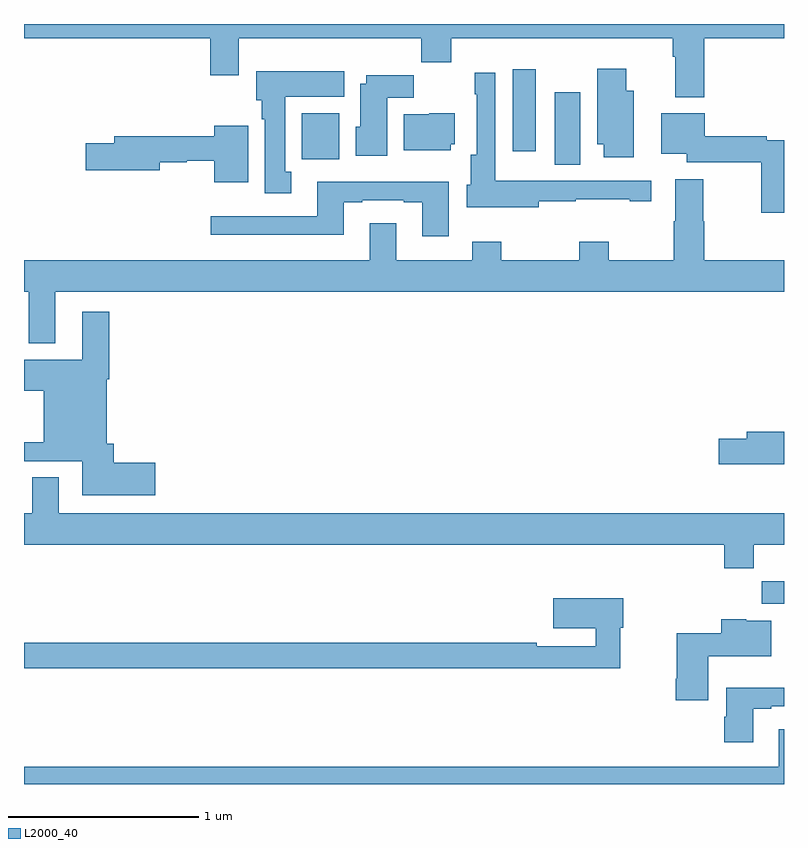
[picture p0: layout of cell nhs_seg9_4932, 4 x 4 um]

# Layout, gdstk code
import gdstk
lib = gdstk.Library(unit=1e-6, precision=1e-09)
def R(c, l, rs):  # rectangles x0, y0, x1, y1
    for r in rs: c.add(gdstk.rectangle(r[:2], r[2:], *l))
def P(c, l, *ps):  # polygons
    for p in ps: c.add(gdstk.Polygon(p, *l))
L2000_40 = (2000, 40)

nhs_seg9_4932 = lib.new_cell('nhs_seg9_4932')
R(nhs_seg9_4932, L2000_40, [(400.882,1189.448,401,1189.567), (399.794,1191.76,399.928,1192.141), (398.462,1191.788,398.659,1192.03), (399.572,1191.831,399.694,1192.261)])
P(nhs_seg9_4932, L2000_40, [(400.58,1192.424),(401,1192.424),(401,1192.5),(397,1192.5),(397,1192.424),(397.979,1192.424),(397.979,1192.23),(398.131,1192.23),(398.131,1192.424),(399.091,1192.424),(399.091,1192.3),(399.248,1192.3),(399.248,1192.424),(400.415,1192.424),(400.415,1192.328),(400.427,1192.328),(400.427,1192.115),(400.58,1192.115)],
  [(400.21,1192.15),(400.171,1192.15),(400.171,1192.264),(400.016,1192.264),(400.016,1191.866),(400.052,1191.866),(400.052,1191.798),(400.21,1191.798)],
  [(398.407,1191.722),(398.374,1191.722),(398.374,1192.118),(398.686,1192.118),(398.686,1192.252),(398.222,1192.252),(398.222,1192.098),(398.252,1192.098),(398.252,1191.998),(398.267,1191.998),(398.267,1191.609),(398.407,1191.609)],
  [(399.709,1191.567),(399.905,1191.567),(399.905,1191.577),(400.187,1191.577),(400.187,1191.567),(400.3,1191.567),(400.3,1191.675),(399.705,1191.675),(399.705,1191.676),(399.48,1191.676),(399.48,1192.243),(399.372,1192.243),(399.372,1192.13),(399.384,1192.13),(399.384,1191.811),(399.35,1191.811),(399.35,1191.654),(399.329,1191.654),(399.329,1191.536),(399.709,1191.536)],
  [(398.911,1192.112),(399.05,1192.112),(399.05,1192.231),(398.801,1192.231),(398.801,1192.186),(398.771,1192.186),(398.771,1191.96),(398.747,1191.96),(398.747,1191.806),(398.911,1191.806)],
  [(401,1191.888),(400.91,1191.888),(400.91,1191.908),(400.582,1191.908),(400.582,1192.03),(400.355,1192.03),(400.355,1191.818),(400.488,1191.818),(400.488,1191.772),(400.879,1191.772),(400.879,1191.507),(401,1191.507)],
  [(399.246,1191.867),(399.268,1191.867),(399.268,1192.03),(399.132,1192.03),(399.132,1192.024),(398.999,1192.024),(398.999,1191.836),(399.246,1191.836)],
  [(398.179,1191.964),(398,1191.964),(398,1191.908),(397.475,1191.908),(397.475,1191.872),(397.326,1191.872),(397.326,1191.73),(397.714,1191.73),(397.714,1191.772),(397.857,1191.772),(397.857,1191.78),(398,1191.78),(398,1191.668),(398.179,1191.668)],
  [(397.165,1191.092),(401,1191.092),(401,1191.256),(400.58,1191.256),(400.58,1191.461),(400.575,1191.461),(400.575,1191.682),(400.427,1191.682),(400.427,1191.461),(400.42,1191.461),(400.42,1191.256),(400.077,1191.256),(400.077,1191.355),(399.922,1191.355),(399.922,1191.256),(399.513,1191.256),(399.513,1191.355),(399.358,1191.355),(399.358,1191.256),(398.959,1191.256),(398.959,1191.451),(398.819,1191.451),(398.819,1191.256),(397,1191.256),(397,1191.092),(397.025,1191.092),(397.025,1190.819),(397.165,1190.819)],
  [(399.235,1191.67),(398.543,1191.67),(398.543,1191.489),(397.983,1191.489),(397.983,1191.392),(398.683,1191.392),(398.683,1191.561),(398.779,1191.561),(398.779,1191.573),(398.999,1191.573),(398.999,1191.561),(399.095,1191.561),(399.095,1191.384),(399.235,1191.384)],
  [(397.69,1190.192),(397.472,1190.192),(397.472,1190.292),(397.435,1190.292),(397.435,1190.63),(397.448,1190.63),(397.448,1190.986),(397.307,1190.986),(397.307,1190.734),(397,1190.734),(397,1190.57),(397.103,1190.57),(397.103,1190.3),(397,1190.3),(397,1190.199),(397.307,1190.199),(397.307,1190.021),(397.69,1190.021)],
  [(401,1190.354),(400.805,1190.354),(400.805,1190.318),(400.656,1190.318),(400.656,1190.183),(401,1190.183)],
  [(400.841,1189.76),(401,1189.76),(401,1189.924),(397.183,1189.924),(397.183,1190.114),(397.043,1190.114),(397.043,1189.924),(397,1189.924),(397,1189.76),(400.685,1189.76),(400.685,1189.636),(400.841,1189.636)],
  [(400.138,1189.323),(400.153,1189.323),(400.153,1189.477),(399.786,1189.477),(399.786,1189.319),(400.009,1189.319),(400.009,1189.224),(399.698,1189.224),(399.698,1189.244),(397,1189.244),(397,1189.108),(400.138,1189.108)],
  [(400.6,1189.172),(400.933,1189.172),(400.933,1189.36),(400.8,1189.36),(400.8,1189.366),(400.67,1189.366),(400.67,1189.294),(400.435,1189.294),(400.435,1189.054),(400.43,1189.054),(400.43,1188.942),(400.6,1188.942)],
  [(400.837,1188.897),(400.933,1188.897),(400.933,1188.909),(401,1188.909),(401,1189.006),(400.697,1189.006),(400.697,1188.854),(400.685,1188.854),(400.685,1188.72),(400.837,1188.72)],
  [(401,1188.787),(400.973,1188.787),(400.973,1188.592),(397,1188.592),(397,1188.5),(401,1188.5)])

lib.write_gds('nhs_seg9_4932.gds')
